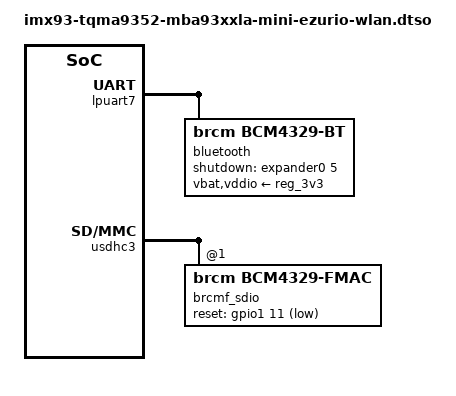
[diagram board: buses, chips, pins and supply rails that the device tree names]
// SPDX-License-Identifier: (GPL-2.0-or-later OR MIT)
/*
 * Copyright (c) 2025-2026 TQ-Systems GmbH <linux@ew.tq-group.com>,
 * D-82229 Seefeld, Germany.
 * Author: Martin Schmiedel
 */

#include <dt-bindings/gpio/gpio.h>
#include <dt-bindings/interrupt-controller/irq.h>

/dts-v1/;
/plugin/;

&lpuart7 {
	status = "okay";

	bluetooth {
		compatible = "brcm,bcm4329-bt";
		vbat-supply = <&reg_3v3>;
		vddio-supply = <&reg_3v3>;
		shutdown-gpios = <&expander0 5 GPIO_ACTIVE_HIGH>;
	};
};

&usdhc3 {
	#address-cells = <1>;
	#size-cells = <0>;
	status = "okay";

	brcmf_sdio: wifi@1 {
		compatible = "brcm,bcm4329-fmac";
		reg = <1>;
		reset-gpios = <&gpio1 11 GPIO_ACTIVE_LOW>;
	};
};
